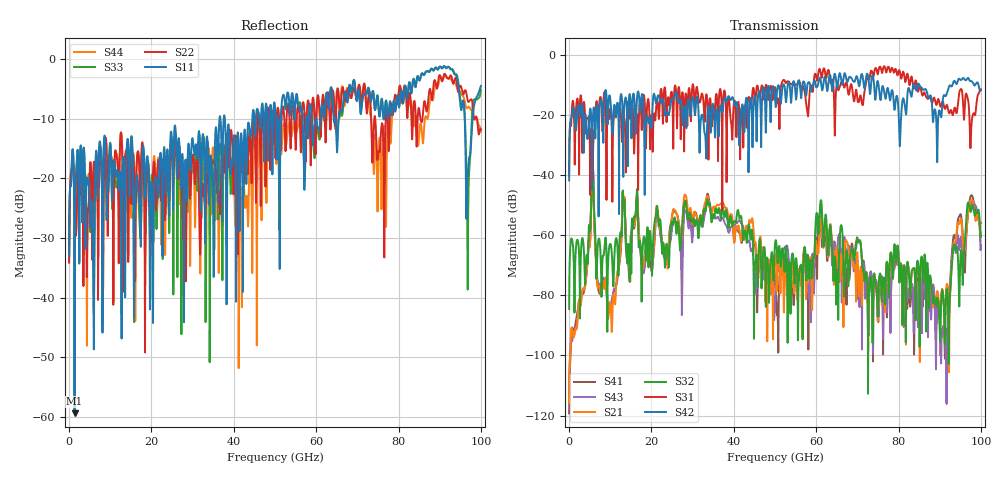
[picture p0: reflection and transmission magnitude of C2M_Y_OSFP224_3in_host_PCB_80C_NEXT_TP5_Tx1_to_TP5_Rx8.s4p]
# GHz S RI R 45
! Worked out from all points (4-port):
!   4000 points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, 25 MHz to 100 GHz, reference 45 ohm
!   strongest paths, dB at 25 MHz, 25.02 GHz, 50.02 GHz, 75.03 GHz, 100 GHz:
!     S42: -41.8, -14.6, -14.8, -8.9, -11.8
!     S31: -40.1, -13.3, -10.9, -6.3, -11.5
!     S32: -84.6, -55.7, -62.9, -84.0, -60.1
!     S21: -115.8, -53.5, -66.5, -85.0, -59.2
!     S43: -115.1, -57.8, -83.2, -86.4, -63.4
!     S41: -119.3, -53.8, -74.0, -87.1, -55.9
!   lowest |S11| = -59.4 dB at 1.35 GHz (marker M1), VSWR 1.00, Z = 44.9 - j0.0541 ohm
!   |S11| at or under -10 dB: start of sweep to 36.53 GHz; 37.83 GHz to 44.49 GHz (6.656 GHz wide, 16.2 % of centre); 96.08 GHz to 98 GHz (1.925 GHz wide, 1.98 % of centre) (the widest 3 of 19)
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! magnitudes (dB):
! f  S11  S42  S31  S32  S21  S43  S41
! 25 MHz  -33.0  -41.8  -40.1  -84.6  -115.8  -115.1  -119.3
! 1.35 GHz  -59.4  -20.2  -29.9  -83.9  -93.1  -92.1  -91.5
! 5.725 GHz  -30.7  -23.4  -41.7  -37.5  -37.5  -37.4  -37.5
! 9.625 GHz  -20.5  -15.3  -20.5  -65.7  -86.3  -83.8  -85.7
! 13.25 GHz  -16.7  -26.0  -21.2  -49.2  -49.1  -49.7  -49.3
! 50.55 GHz  -13.3  -11.4  -15.8  -67.6  -73.4  -71.3  -86.5
! 100 GHz  -4.5  -11.8  -11.5  -60.1  -59.2  -63.4  -55.9
